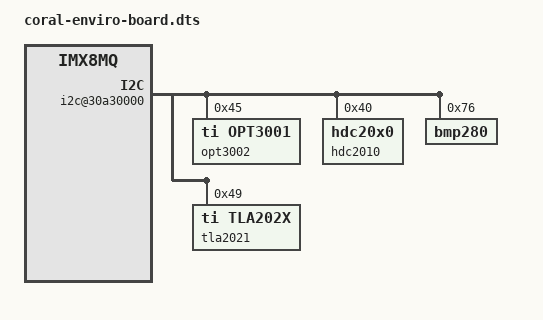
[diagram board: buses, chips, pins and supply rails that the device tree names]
/*
 * coral-enviro-board.dts
 * Device Tree Overlay to support Coral Environmental Sensor Board
 *
 * Copyright (C) 2019 Google LLC
 *
 * This program is free software; you can redistribute it and/or modify
 * it under the terms of the GNU General Public License as published by
 * the Free Software Foundation; either version 2 of the License, or
 * (at your option) any later version.
 *
 * This program is distributed in the hope that it will be useful,
 * but WITHOUT ANY WARRANTY; without even the implied warranty of
 * MERCHANTABILITY or FITNESS FOR A PARTICULAR PURPOSE. See the
 * GNU General Public License for more details.
 *
 */

/dts-v1/;
/plugin/;

/ {
	compatible = "fsl,imx8mq-phanbell", "fsl,imx8mq";

	fragment@0 {
		target-path = "/i2c@30a30000";
		__overlay__ {
			#address-cells = <1>;
			#size-cells = <0>;
			status = "okay";

			opt3002@44 {
				compatible = "ti,opt3001";
				reg = <0x45>; /* address */
			};

			hdc2010@40 {
				compatible = "hdc20x0";
				reg = <0x40>; /* address */
			};

			bmp280@76 {
				compatible = "bmp280";
				reg = <0x76>; /* address */
			};

			tla2021@49 {
				compatible = "ti,tla202x";
				pinctrl-names = "default";
				pinctrl-0 = <&pinctrl_enviro>;
				reg = <0x49>; /* address */
				#address-cells = <1>;
				#size-cells = <0>;

				channel@0 {
					reg = <0>;
					ti,gain = <0>; /* +/- 6.144 V range */
				};
			};
		};
	};

	fragment@1 {
		target-path = "/iomuxc@30330000";
		__overlay__ {
			status = "okay";
			imx8mq-phanbell {
				pinctrl_gpio: gpio_ctrlgrp{
					fsl,pins = <>;
				};
				pinctrl_enviro: envirogrp {
					fsl,pins = <
						0x118 0x380 0x000 0x5 0x0 0xd8 /* MX8MQ_IOMUXC_NAND_DATA03_GPIO3_IO9 */
						0x18C 0x3F4 0x000 0x5 0x0 0xd8 /* MX8MQ_IOMUXC_SAI1_TXD0_GPIO4_IO12  */
					>;
				};
			};
		};
	};

	fragment@2 {
		target-path = "/sai@30010000";
		__overlay__ {
			status = "disabled";
		};
	};
};

